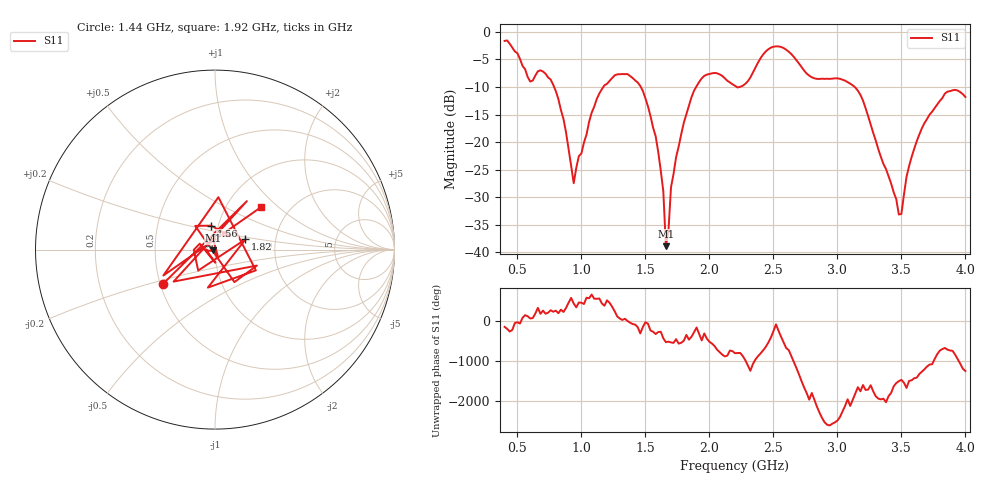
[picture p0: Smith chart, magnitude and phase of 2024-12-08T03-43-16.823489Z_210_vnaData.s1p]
!Created with skrf (http://scikit-rf.org).
# Hz S RI R 50.0
!freq ReS11 ImS11
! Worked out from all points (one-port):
!   181 points, 400 MHz to 4 GHz, reference 50 ohm
!   lowest |S11| = -38.9 dB at 1.66 GHz (marker M1), VSWR 1.02, Z = 48.9 - j0.283 ohm
!   |S11| at or under -10 dB: 786.8 MHz to 1.171 GHz (384.3 MHz wide, 39.3 % of centre); 1.464 GHz to 1.896 GHz (432 MHz wide, 25.7 % of centre); 3.135 GHz to end of sweep (the widest 3 of 4)
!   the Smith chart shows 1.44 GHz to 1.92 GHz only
!   S11 on the Smith chart (normalised r, x): 1.44 GHz: 0.52, -0.22; 1.56 GHz: 0.92, +0.25; 1.82 GHz: 1.40, +0.17; 1.92 GHz: 1.45, +0.78
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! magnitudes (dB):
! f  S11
! 400 MHz  -1.6
! 600 MHz  -9.0
! 760 MHz  -8.6
! 860 MHz  -15.8
! 940 MHz  -27.5
! 1.12 GHz  -12.2
! 1.3 GHz  -7.7
! 1.44 GHz  -9.2
! 1.56 GHz  -17.4
! 1.64 GHz  -29.0
! 1.66 GHz  -38.9
! 1.68 GHz  -36.2
! 1.7 GHz  -28.2
! 1.76 GHz  -20.8
! 1.82 GHz  -14.9
! 1.92 GHz  -9.1
! 2.2 GHz  -9.8
! 2.48 GHz  -2.9
! 2.66 GHz  -4.5
! 2.8 GHz  -8.2
! 3.1 GHz  -9.4
! 3.2 GHz  -12.5
! 3.48 GHz  -33.1
! 3.5 GHz  -33.1
! 3.56 GHz  -24.4
! 3.66 GHz  -17.5
! 3.84 GHz  -11.2
! 4 GHz  -11.8
